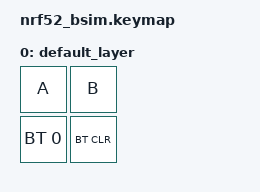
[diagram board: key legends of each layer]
#include <behaviors.dtsi>
#include <dt-bindings/zmk/bt.h>
#include <dt-bindings/zmk/keys.h>

&kscan {
    /delete-property/ exit-after;
    events = <>;
};

/ {
    keymap {
        compatible = "zmk,keymap";

        default_layer {
            bindings = <
            &kp A &kp B
            &bt BT_SEL 0 &bt BT_CLR>;
        };
    };
};
